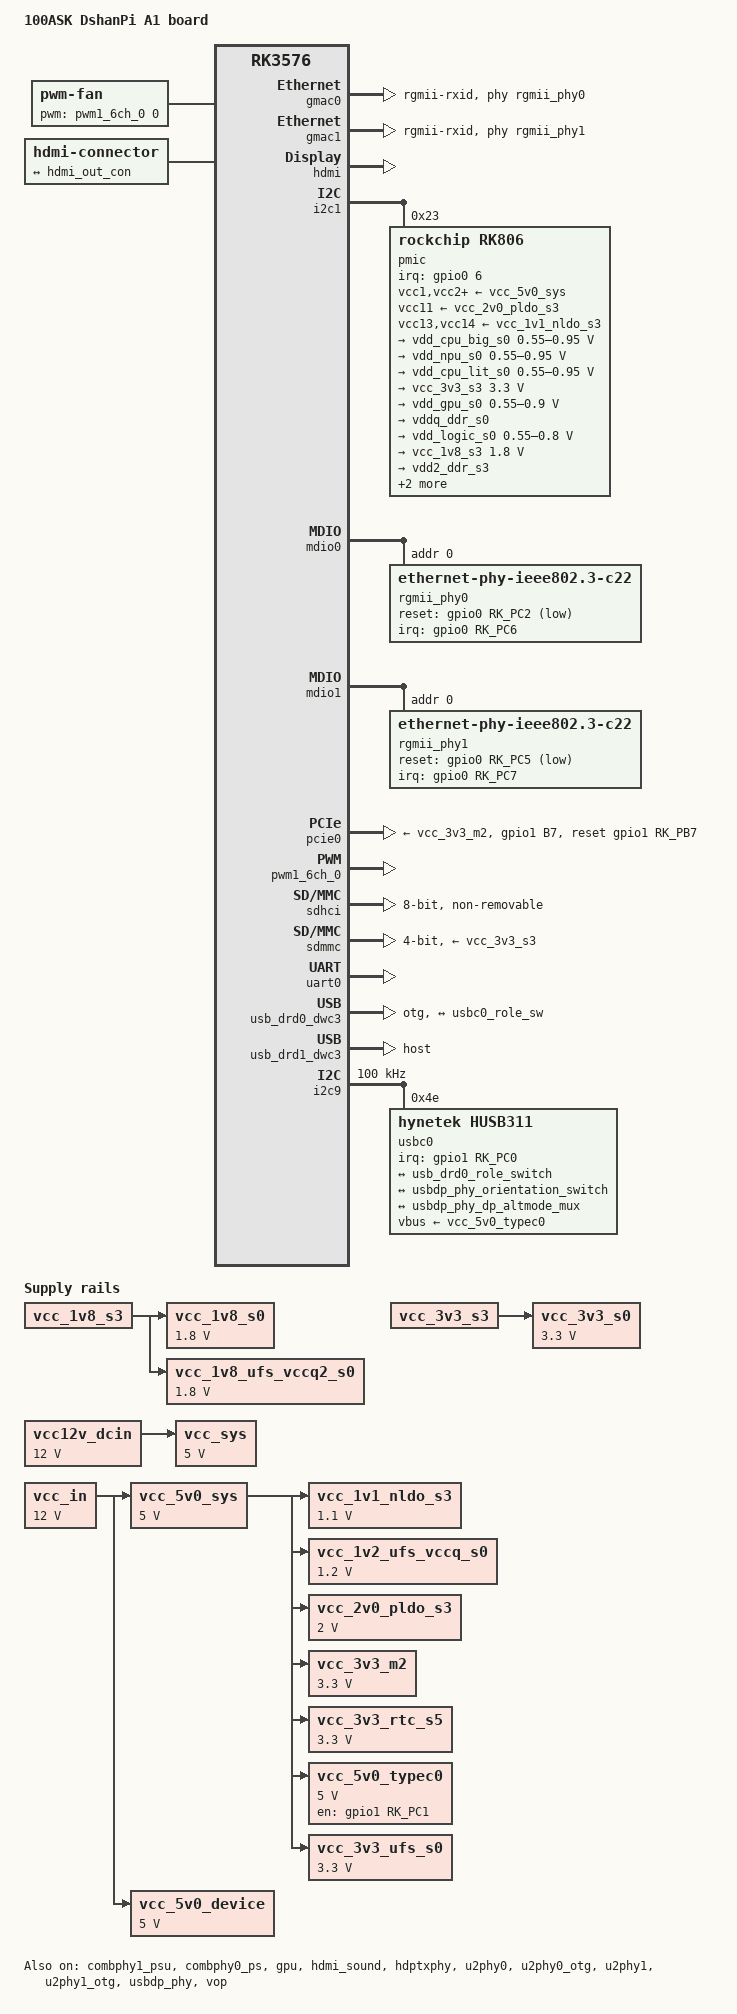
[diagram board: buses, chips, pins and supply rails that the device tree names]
// SPDX-License-Identifier: (GPL-2.0+ OR MIT)
/*
 * Copyright (c) 2024 Rockchip Electronics Co., Ltd.
 *
 */

/dts-v1/;

#include <dt-bindings/gpio/gpio.h>
#include <dt-bindings/leds/common.h>
#include <dt-bindings/pinctrl/rockchip.h>
#include <dt-bindings/pwm/pwm.h>
#include <dt-bindings/soc/rockchip,vop2.h>
#include "rk3576.dtsi"
#include <dt-bindings/usb/pd.h>
// #include "rk3576-rk806.dtsi"

/ {
	model = "100ASK DshanPi A1 board";
	compatible = "100ask,dshanpi-a1", "rockchip,rk3576";

	aliases {
		ethernet0 = &gmac0;
		ethernet1 = &gmac1;
	};

	chosen {
		stdout-path = "serial0:1500000n8";
	};
	
	fan: pwm-fan {
		status = "okay";
		compatible = "pwm-fan";
		#cooling-cells = <2>;
		pwms = <&pwm1_6ch_0 0 50000 1>;
		
		cooling-levels = <0 50 100 150 200 255>;
		
		/* does not work here, use standerd method instead */
		rockchip,temp-trips = <
			40000    1
			50000    2
			60000    3
			65000    4
			70000    5
		>;
	};

	hdmi-con {
		compatible = "hdmi-connector";
		type = "a";

		port {
			hdmi_con_in: endpoint {
				remote-endpoint = <&hdmi_out_con>;
			};
		};
	};

	sdio_pwrseq: sdio-pwrseq {
		compatible = "mmc-pwrseq-simple";
		//pinctrl-names = "default";
		//pinctrl-0 = <&wifi_poweren_gpio>;

		/*
		 * On the module itself this is one of these (depending
		 * on the actual card populated):
		 * - SDIO_RESET_L_WL_REG_ON
		 * - PDN (power down when low)
		 */
		post-power-on-delay-ms = <200>;
		reset-gpios = <&gpio1 RK_PC6 GPIO_ACTIVE_LOW>;
		status = "disabled";
	};

	vcc12v_dcin: vcc12v-dcin {
		compatible = "regulator-fixed";
		regulator-name = "vcc12v_dcin";
		regulator-always-on;
		regulator-boot-on;
		regulator-min-microvolt = <12000000>;
		regulator-max-microvolt = <12000000>;
	};

	vcc_sys: vcc5v0-sys {
		compatible = "regulator-fixed";
		regulator-name = "vcc_sys";
		regulator-always-on;
		regulator-boot-on;
		regulator-min-microvolt = <5000000>;
		regulator-max-microvolt = <5000000>;
		vin-supply = <&vcc12v_dcin>;
	};

	vcc_in: regulator-vcc-12v0-dcin {
		compatible = "regulator-fixed";
		regulator-name = "vcc_in";
		regulator-always-on;
		regulator-boot-on;
		regulator-min-microvolt = <12000000>;
		regulator-max-microvolt = <12000000>;
	};

	vcc_1v1_nldo_s3: regulator-vcc-1v1-nldo-s3 {
		compatible = "regulator-fixed";
		regulator-name = "vcc_1v1_nldo_s3";
		regulator-boot-on;
		regulator-always-on;
		regulator-min-microvolt = <1100000>;
		regulator-max-microvolt = <1100000>;
		vin-supply = <&vcc_5v0_sys>;
	};

	vcc_1v2_ufs_vccq_s0: regulator-vcc-1v2-ufs-vccq-s0 {
		compatible = "regulator-fixed";
		regulator-name = "vcc_1v2_ufs_vccq_s0";
		regulator-boot-on;
		regulator-always-on;
		regulator-min-microvolt = <1200000>;
		regulator-max-microvolt = <1200000>;
		vin-supply = <&vcc_5v0_sys>;
	};

	vcc_1v8_s0: regulator-vcc-1v8-s0 {
		compatible = "regulator-fixed";
		regulator-name = "vcc_1v8_s0";
		regulator-boot-on;
		regulator-always-on;
		regulator-min-microvolt = <1800000>;
		regulator-max-microvolt = <1800000>;
		vin-supply = <&vcc_1v8_s3>;
	};

	vcc_1v8_ufs_vccq2_s0: regulator-vcc-1v8-ufs-vccq2-s0 {
		compatible = "regulator-fixed";
		regulator-name = "vcc_1v8_ufs_vccq2_s0";
		regulator-boot-on;
		regulator-always-on;
		regulator-min-microvolt = <1800000>;
		regulator-max-microvolt = <1800000>;
		vin-supply = <&vcc_1v8_s3>;
	};

	vcc_2v0_pldo_s3: regulator-vcc-2v0-pldo-s3 {
		compatible = "regulator-fixed";
		regulator-name = "vcc_2v0_pldo_s3";
		regulator-boot-on;
		regulator-always-on;
		regulator-min-microvolt = <2000000>;
		regulator-max-microvolt = <2000000>;
		vin-supply = <&vcc_5v0_sys>;
	};

	vcc_3v3_m2: regulator-vcc-3v3-m2 {
		compatible = "regulator-fixed";
		regulator-name = "vcc_3v3_m2";
		regulator-always-on;
		regulator-boot-on;
		regulator-min-microvolt = <3300000>;
		regulator-max-microvolt = <3300000>;
		vin-supply = <&vcc_5v0_sys>;
	};

	vcc_3v3_rtc_s5: regulator-vcc-3v3-rtc-s5 {
		compatible = "regulator-fixed";
		regulator-name = "vcc_3v3_rtc_s5";
		regulator-boot-on;
		regulator-always-on;
		regulator-min-microvolt = <3300000>;
		regulator-max-microvolt = <3300000>;
		vin-supply = <&vcc_5v0_sys>;
	};

	vcc_3v3_s0: regulator-vcc-3v3-s0 {
		compatible = "regulator-fixed";
		regulator-name = "vcc_3v3_s0";
		regulator-boot-on;
		regulator-always-on;
		regulator-min-microvolt = <3300000>;
		regulator-max-microvolt = <3300000>;
		vin-supply = <&vcc_3v3_s3>;
	};

	vcc_5v0_sys: regulator-vcc-5v0-sys {
		compatible = "regulator-fixed";
		regulator-name = "vcc_5v0_sys";
		regulator-always-on;
		regulator-boot-on;
		regulator-min-microvolt = <5000000>;
		regulator-max-microvolt = <5000000>;
		vin-supply = <&vcc_in>;
	};

	vcc_5v0_device: regulator-vcc-5v0-device {
		compatible = "regulator-fixed";
		regulator-name = "vcc_5v0_device";
		regulator-always-on;
		regulator-boot-on;
		regulator-min-microvolt = <5000000>;
		regulator-max-microvolt = <5000000>;
		vin-supply = <&vcc_in>;
	};

	vcc_5v0_typec0: regulator-vcc-5v0-typec0 {
		compatible = "regulator-fixed";
		enable-active-high;
		gpios = <&gpio1 RK_PC1 GPIO_ACTIVE_HIGH>;
		pinctrl-names = "default";
		pinctrl-0 = <&vcc5v_pwren_h>;
		regulator-name = "vcc_5v0_typec0";
		regulator-min-microvolt = <5000000>;
		regulator-max-microvolt = <5000000>;
		vin-supply = <&vcc_5v0_sys>;
	};

	vcc_3v3_ufs_s0: regulator-vcc-ufs-s0 {
		compatible = "regulator-fixed";
		regulator-name = "vcc_3v3_ufs_s0";
		regulator-boot-on;
		regulator-always-on;
		regulator-min-microvolt = <3300000>;
		regulator-max-microvolt = <3300000>;
		vin-supply = <&vcc_5v0_sys>;
	};
};

&package_thermal {
	trips {
		package_passive: package-passive {
			temperature = <35000>;
			hysteresis = <3000>;
			type = "passive";
		};

		package_active0: package-active0 {
			temperature = <45000>;
			hysteresis = <3000>;
			type = "active";
		};

		package_active1: package-active1 {
			temperature = <60000>;
			hysteresis = <3000>;
			type = "active";
		};
	};

	cooling-maps {
		map0 {
			trip = <&package_passive>;
			cooling-device = <&fan 0 1>; // trip=35°C, level [0,1]
		};

		map1 {
			trip = <&package_active0>;
			cooling-device = <&fan 1 3>; // trip=45℃, level [1,3]
		};

		map2 {
			trip = <&package_active1>;
			cooling-device = <&fan 3 5>; // trip=60℃, level [3,5]
		};

		map3 {
			trip = <&package_crit>;
			cooling-device = <&fan 5 5>; // trip=115℃, level=5
		};
	};
};

&combphy1_psu {
	status = "okay";
};

&combphy0_ps {
	status = "okay";
};

&cpu_b0 {
	cpu-supply = <&vdd_cpu_big_s0>;
};

&cpu_b1 {
	cpu-supply = <&vdd_cpu_big_s0>;
};

&cpu_b2 {
	cpu-supply = <&vdd_cpu_big_s0>;
};

&cpu_b3 {
	cpu-supply = <&vdd_cpu_big_s0>;
};

&cpu_l0 {
	cpu-supply = <&vdd_cpu_lit_s0>;
};

&cpu_l1 {
	cpu-supply = <&vdd_cpu_lit_s0>;
};

&cpu_l2 {
	cpu-supply = <&vdd_cpu_lit_s0>;
};

&cpu_l3 {
	cpu-supply = <&vdd_cpu_lit_s0>;
};
&gmac0 {
	/* Use rgmii-rxid mode to disable rx delay inside Soc */
	phy-mode = "rgmii-rxid";
	clock_in_out = "output";

    // snps,reset-gpio = <&gpio0 RK_PC2 GPIO_ACTIVE_LOW>;
    // snps,reset-active-low;
    // /* Reset time is 20ms, 100ms for rtl8211f */
    // snps,reset-delays-us = <0 20000 100000>;

    pinctrl-names = "default";
    pinctrl-0 = <&eth0m0_miim
                 &eth0m0_tx_bus2
                 &eth0m0_rx_bus2
                 &eth0m0_rgmii_clk
                 &eth0m0_rgmii_bus>;

	tx_delay = <0x1b>;
	/* rx_delay = <0x3f>; */

	phy-handle = <&rgmii_phy0>;
	status = "okay";
};

&gmac1 {
    /* Use rgmii-rxid mode to disable rx delay inside Soc */
    phy-mode = "rgmii-rxid";
    clock_in_out = "output";

    // snps,reset-gpio = <&gpio0 RK_PC5 GPIO_ACTIVE_LOW>;
    // snps,reset-active-low;
    // /* Reset time is 20ms, 100ms for rtl8211f */
    // snps,reset-delays-us = <0 20000 100000>;

    pinctrl-names = "default";
    pinctrl-0 = <&eth1m0_miim
                 &eth1m0_tx_bus2
                 &eth1m0_rx_bus2
                 &eth1m0_rgmii_clk
                 &eth1m0_rgmii_bus>;

    tx_delay = <0x1a>;
    /* rx_delay = <0x3f>; */

    phy-handle = <&rgmii_phy1>;
    status = "okay";
};

&gpu {
	mali-supply = <&vdd_gpu_s0>;
	status = "okay";
};

&hdmi {
	status = "okay";
	enable-gpios = <&gpio2 RK_PB0 GPIO_ACTIVE_HIGH>;
	rockchip,sda-falling-delay-ns = <360>;
};

&hdmi_in {
	hdmi_in_vp0: endpoint {
		remote-endpoint = <&vp0_out_hdmi>;
	};
};

&hdmi_out {
	hdmi_out_con: endpoint {
		remote-endpoint = <&hdmi_con_in>;
	};
};

&hdmi_sound {
	status = "okay";
};

&hdptxphy {
	status = "okay";
};

&i2c1 {
	status = "okay";

	pmic@23 {
		compatible = "rockchip,rk806";
		reg = <0x23>;

		interrupt-parent = <&gpio0>;
		interrupts = <6 IRQ_TYPE_LEVEL_LOW>;

		pinctrl-names = "default";
		pinctrl-0 = <&pmic_pins>, <&rk806_dvs1_null>,
			    <&rk806_dvs2_null>, <&rk806_dvs3_null>;

		system-power-controller;

		vcc1-supply = <&vcc_5v0_sys>;
		vcc2-supply = <&vcc_5v0_sys>;
		vcc3-supply = <&vcc_5v0_sys>;
		vcc4-supply = <&vcc_5v0_sys>;
		vcc5-supply = <&vcc_5v0_sys>;
		vcc6-supply = <&vcc_5v0_sys>;
		vcc7-supply = <&vcc_5v0_sys>;
		vcc8-supply = <&vcc_5v0_sys>;
		vcc9-supply = <&vcc_5v0_sys>;
		vcc10-supply = <&vcc_5v0_sys>;
		vcc11-supply = <&vcc_2v0_pldo_s3>;
		vcc12-supply = <&vcc_5v0_sys>;
		vcc13-supply = <&vcc_1v1_nldo_s3>;
		vcc14-supply = <&vcc_1v1_nldo_s3>;
		vcca-supply = <&vcc_5v0_sys>;

		gpio-controller;
		#gpio-cells = <2>;

		rk806_dvs1_null: dvs1-null-pins {
			pins = "gpio_pwrctrl1";
			function = "pin_fun0";
		};

		rk806_dvs2_null: dvs2-null-pins {
			pins = "gpio_pwrctrl2";
			function = "pin_fun0";
		};

		rk806_dvs3_null: dvs3-null-pins {
			pins = "gpio_pwrctrl3";
			function = "pin_fun0";
		};

		rk806_dvs1_slp: dvs1-slp-pins {
			pins = "gpio_pwrctrl1";
			function = "pin_fun1";
		};

		rk806_dvs1_pwrdn: dvs1-pwrdn-pins {
			pins = "gpio_pwrctrl1";
			function = "pin_fun2";
		};

		rk806_dvs1_rst: dvs1-rst-pins {
			pins = "gpio_pwrctrl1";
			function = "pin_fun3";
		};

		rk806_dvs2_slp: dvs2-slp-pins {
			pins = "gpio_pwrctrl2";
			function = "pin_fun1";
		};

		rk806_dvs2_pwrdn: dvs2-pwrdn-pins {
			pins = "gpio_pwrctrl2";
			function = "pin_fun2";
		};

		rk806_dvs2_rst: dvs2-rst-pins {
			pins = "gpio_pwrctrl2";
			function = "pin_fun3";
		};

		rk806_dvs2_dvs: dvs2-dvs-pins {
			pins = "gpio_pwrctrl2";
			function = "pin_fun4";
		};

		rk806_dvs2_gpio: dvs2-gpio-pins {
			pins = "gpio_pwrctrl2";
			function = "pin_fun5";
		};

		rk806_dvs3_slp: dvs3-slp-pins {
			pins = "gpio_pwrctrl3";
			function = "pin_fun1";
		};

		rk806_dvs3_pwrdn: dvs3-pwrdn-pins {
			pins = "gpio_pwrctrl3";
			function = "pin_fun2";
		};

		rk806_dvs3_rst: dvs3-rst-pins {
			pins = "gpio_pwrctrl3";
			function = "pin_fun3";
		};

		rk806_dvs3_dvs: dvs3-dvs-pins {
			pins = "gpio_pwrctrl3";
			function = "pin_fun4";
		};

		rk806_dvs3_gpio: dvs3-gpio-pins {
			pins = "gpio_pwrctrl3";
			function = "pin_fun5";
		};

		regulators {
			vdd_cpu_big_s0: dcdc-reg1 {
				regulator-always-on;
				regulator-boot-on;
				regulator-min-microvolt = <550000>;
				regulator-max-microvolt = <950000>;
				regulator-ramp-delay = <12500>;
				regulator-name = "vdd_cpu_big_s0";
				regulator-enable-ramp-delay = <400>;
				regulator-state-mem {
					regulator-off-in-suspend;
				};
			};

			vdd_npu_s0: dcdc-reg2 {
				regulator-boot-on;
				regulator-min-microvolt = <550000>;
				regulator-max-microvolt = <950000>;
				regulator-ramp-delay = <12500>;
				regulator-name = "vdd_npu_s0";
				regulator-enable-ramp-delay = <400>;
				regulator-state-mem {
					regulator-off-in-suspend;
				};
			};

			vdd_cpu_lit_s0: dcdc-reg3 {
				regulator-always-on;
				regulator-boot-on;
				regulator-min-microvolt = <550000>;
				regulator-max-microvolt = <950000>;
				regulator-ramp-delay = <12500>;
				regulator-name = "vdd_cpu_lit_s0";
				regulator-state-mem {
					regulator-off-in-suspend;
					regulator-suspend-microvolt = <750000>;
				};
			};

			vcc_3v3_s3: dcdc-reg4 {
				regulator-always-on;
				regulator-boot-on;
				regulator-min-microvolt = <3300000>;
				regulator-max-microvolt = <3300000>;
				regulator-name = "vcc_3v3_s3";
				regulator-state-mem {
					regulator-on-in-suspend;
					regulator-suspend-microvolt = <3300000>;
				};
			};

			vdd_gpu_s0: dcdc-reg5 {
				regulator-boot-on;
				regulator-min-microvolt = <550000>;
				regulator-max-microvolt = <900000>;
				regulator-ramp-delay = <12500>;
				regulator-name = "vdd_gpu_s0";
				regulator-enable-ramp-delay = <400>;
				regulator-state-mem {
					regulator-off-in-suspend;
					regulator-suspend-microvolt = <850000>;
				};
			};

			vddq_ddr_s0: dcdc-reg6 {
				regulator-always-on;
				regulator-boot-on;
				regulator-name = "vddq_ddr_s0";
				regulator-state-mem {
					regulator-off-in-suspend;
				};
			};

			vdd_logic_s0: dcdc-reg7 {
				regulator-always-on;
				regulator-boot-on;
				regulator-min-microvolt = <550000>;
				regulator-max-microvolt = <800000>;
				regulator-name = "vdd_logic_s0";
				regulator-state-mem {
					regulator-off-in-suspend;
				};
			};

			vcc_1v8_s3: dcdc-reg8 {
				regulator-always-on;
				regulator-boot-on;
				regulator-min-microvolt = <1800000>;
				regulator-max-microvolt = <1800000>;
				regulator-name = "vcc_1v8_s3";
				regulator-state-mem {
					regulator-on-in-suspend;
					regulator-suspend-microvolt = <1800000>;
				};
			};

			vdd2_ddr_s3: dcdc-reg9 {
				regulator-always-on;
				regulator-boot-on;
				regulator-name = "vdd2_ddr_s3";
				regulator-state-mem {
					regulator-on-in-suspend;
				};
			};

			vdd_ddr_s0: dcdc-reg10 {
				regulator-always-on;
				regulator-boot-on;
				regulator-min-microvolt = <550000>;
				regulator-max-microvolt = <1200000>;
				regulator-name = "vdd_ddr_s0";
				regulator-state-mem {
					regulator-off-in-suspend;
				};
			};

			vcca_1v8_s0: pldo-reg1 {
				regulator-always-on;
				regulator-boot-on;
				regulator-min-microvolt = <1800000>;
				regulator-max-microvolt = <1800000>;
				regulator-name = "vcca_1v8_s0";
				regulator-state-mem {
					regulator-off-in-suspend;
				};
			};

			vcca1v8_pldo2_s0: pldo-reg2 {
				regulator-always-on;
				regulator-boot-on;
				regulator-min-microvolt = <1800000>;
				regulator-max-microvolt = <1800000>;
				regulator-name = "vcca1v8_pldo2_s0";
				regulator-state-mem {
					regulator-off-in-suspend;
				};
			};

			vdda_1v2_s0: pldo-reg3 {
				regulator-always-on;
				regulator-boot-on;
				regulator-min-microvolt = <1200000>;
				regulator-max-microvolt = <1200000>;
				regulator-name = "vdda_1v2_s0";
				regulator-state-mem {
					regulator-off-in-suspend;
				};
			};

			vcca_3v3_s0: pldo-reg4 {
				regulator-always-on;
				regulator-boot-on;
				regulator-min-microvolt = <3300000>;
				regulator-max-microvolt = <3300000>;
				regulator-name = "vcca_3v3_s0";
				regulator-state-mem {
					regulator-off-in-suspend;
				};
			};

			vccio_sd_s0: pldo-reg5 {
				regulator-always-on;
				regulator-boot-on;
				regulator-min-microvolt = <1800000>;
				regulator-max-microvolt = <3300000>;
				regulator-name = "vccio_sd_s0";
				regulator-state-mem {
					regulator-off-in-suspend;
				};
			};

			vcca1v8_pldo6_s3: pldo-reg6 {
				regulator-always-on;
				regulator-boot-on;
				regulator-min-microvolt = <1800000>;
				regulator-max-microvolt = <1800000>;
				regulator-name = "vcca1v8_pldo6_s3";
				regulator-state-mem {
					regulator-on-in-suspend;
					regulator-suspend-microvolt = <1800000>;
				};
			};

			vdd_0v75_s3: nldo-reg1 {
				regulator-always-on;
				regulator-boot-on;
				regulator-min-microvolt = <750000>;
				regulator-max-microvolt = <750000>;
				regulator-name = "vdd_0v75_s3";
				regulator-state-mem {
					regulator-on-in-suspend;
					regulator-suspend-microvolt = <750000>;
				};
			};

			vdda_ddr_pll_s0: nldo-reg2 {
				regulator-always-on;
				regulator-boot-on;
				regulator-min-microvolt = <850000>;
				regulator-max-microvolt = <850000>;
				regulator-name = "vdda_ddr_pll_s0";
				regulator-state-mem {
					regulator-off-in-suspend;
				};
			};

			vdda0v75_hdmi_s0: nldo-reg3 {
				regulator-always-on;
				regulator-boot-on;
				regulator-min-microvolt = <837500>;
				regulator-max-microvolt = <837500>;
				regulator-name = "vdda0v75_hdmi_s0";
				regulator-state-mem {
					regulator-off-in-suspend;
				};
			};

			vdda_0v85_s0: nldo-reg4 {
				regulator-always-on;
				regulator-boot-on;
				regulator-min-microvolt = <850000>;
				regulator-max-microvolt = <850000>;
				regulator-name = "vdda_0v85_s0";
				regulator-state-mem {
					regulator-off-in-suspend;
				};
			};

			vdda_0v75_s0: nldo-reg5 {
				regulator-always-on;
				regulator-boot-on;
				regulator-min-microvolt = <750000>;
				regulator-max-microvolt = <750000>;
				regulator-name = "vdda_0v75_s0";
				regulator-state-mem {
					regulator-off-in-suspend;
				};
			};
		};
	};
};

&mdio0 {
        rgmii_phy0: phy@1 {
                compatible = "ethernet-phy-ieee802.3-c22";
                reg = <0x0>;
                clocks = <&cru REFCLKO25M_GMAC0_OUT>;
                interrupt-parent = <&gpio0>;
                interrupts = <RK_PC6 IRQ_TYPE_LEVEL_LOW>;
                pinctrl-names = "default";
                pinctrl-0 = <&gmac0_int>, <&gmac0_rst>;
                reset-assert-us = <20000>;
                reset-deassert-us = <100000>;
                reset-gpios = <&gpio0 RK_PC2 GPIO_ACTIVE_LOW>;
        };
};
&mdio1 {
        rgmii_phy1: phy@1 {
                compatible = "ethernet-phy-ieee802.3-c22";
                reg = <0x0>;
                clocks = <&cru REFCLKO25M_GMAC1_OUT>;
                interrupt-parent = <&gpio0>;
                interrupts = <RK_PC7 IRQ_TYPE_LEVEL_LOW>;
                pinctrl-names = "default";
                pinctrl-0 = <&gmac1_int>, <&gmac1_rst>;
                reset-assert-us = <20000>;
                reset-deassert-us = <100000>;
                reset-gpios = <&gpio0 RK_PC5 GPIO_ACTIVE_LOW>;
        };
};

&pcie0 {
	pinctrl-names = "default";
	pinctrl-0 = <&pcie_reset>;
	reset-gpios = <&gpio1 RK_PB7 GPIO_ACTIVE_HIGH>;
	vpcie3v3-supply = <&vcc_3v3_m2>;
	status = "okay";
};

&pinctrl {
	gmac {
                gmac0_int: gmac0-int {
                        rockchip,pins = <0 RK_PC6 RK_FUNC_GPIO &pcfg_pull_up>;
                };
                gmac0_rst: gmac0-rst {
                        rockchip,pins = <0 RK_PC2 RK_FUNC_GPIO &pcfg_pull_none>;
                };
                gmac1_int: gmac1-int {
                        rockchip,pins = <0 RK_PC7 RK_FUNC_GPIO &pcfg_pull_up>;
                };
                gmac1_rst: gmac1-rst {
                        rockchip,pins = <0 RK_PC5 RK_FUNC_GPIO &pcfg_pull_none>;
                };
        };

	headphone {
		hp_det: hp-det {
			rockchip,pins = <0 RK_PD3 RK_FUNC_GPIO &pcfg_pull_up>;
		};
	};


	pcie {
		pcie_reset: pcie-reset {
			rockchip,pins = <1 RK_PB7 RK_FUNC_GPIO &pcfg_pull_none>;
		};
	};

	usb {
		vcc5v_pwren_h: vcc5v-pwren-h {
			rockchip,pins = <1 RK_PC1 RK_FUNC_GPIO &pcfg_pull_none>;
		};

		usbc0_int: usbc0-int {
			rockchip,pins = <1 RK_PC0 RK_FUNC_GPIO &pcfg_pull_up>;
		};
	};
	
	/delete-node/ dsmc;
	/delete-node/ dsmc_testclk;
	/delete-node/ dsmc_testdata;
	
	dsmc { };
	dsmc_testclk { };
	dsmc_testdata { };

};

&pwm1_6ch_0 {
	status = "okay";
	pinctrl-0 = <&pwm1m0_ch0>;
};


&sdhci {
	bus-width = <8>;
	no-sdio;
	no-sd;
	full-pwr-cycle-in-suspend;
	max-frequency = <200000000>;
	mmc-hs200-1_8v; //work perfect on HS200 mode
	// mmc-hs400-1_8v;
	// mmc-hs400-enhanced-strobe;
	/delete-property/ supports-cqe;
	non-removable;
	status = "okay";
};

&sdmmc {
	max-frequency = <200000000>;
	pinctrl-0 = <&sdmmc0_clk &sdmmc0_cmd &sdmmc0_det &sdmmc0_bus4>;
	pinctrl-names = "default";
	no-sdio;
	no-mmc;
	bus-width = <4>;
	cap-mmc-highspeed;
	cap-sd-highspeed;
	disable-wp;
	sd-uhs-sdr104;
	vmmc-supply = <&vcc_3v3_s3>;
	vqmmc-supply = <&vccio_sd_s0>;
	status = "okay";
};

&sdio {
	no-sd;
	no-mmc;
	bus-width = <4>;
	max-frequency = <200000000>;
	disable-wp;
	cap-sd-highspeed;
	cap-sdio-irq;
	keep-power-in-suspend;
	mmc-pwrseq = <&sdio_pwrseq>;
	non-removable;
	pinctrl-names = "default";
	pinctrl-0 = <&sdmmc1m0_bus4 &sdmmc1m0_clk &sdmmc1m0_cmd>;
	sd-uhs-sdr104;
	status = "disabled";
};

&u2phy0 {
	status = "okay";
};

&u2phy0_otg {
	phy-supply = <&vcc_5v0_typec0>;
	rockchip,typec-vbus-det;
	status = "okay";
};

&u2phy1 {
	status = "okay";
};

&u2phy1_otg {
	phy-supply = <&vcc_5v0_sys>;
	status = "okay";
};

&usbdp_phy {
	status = "okay";
	usbdp_phy_dp: dp-port {
		#phy-cells = <0>;
		status = "disabled";
	};

	usbdp_phy_u3: u3-port {
		#phy-cells = <0>;
		status = "disabled";
	};
};

&usbdp_phy_dp {
	status = "okay";
};

&usbdp_phy_u3 {
	status = "okay";
};

&uart0 {
	pinctrl-0 = <&uart0m0_xfer>;
	status = "okay";
};

&vop {
	status = "okay";
};

&vop_mmu {
	status = "okay";
};

&vp0 {
	vp0_out_hdmi: endpoint@ROCKCHIP_VOP2_EP_HDMI0 {
		reg = <ROCKCHIP_VOP2_EP_HDMI0>;
		remote-endpoint = <&hdmi_in_vp0>;
	};
};

&usbdp_phy {
	orientation-switch;
	svid = <0xff01>;
	sbu1-dc-gpios = <&gpio4 RK_PC4 GPIO_ACTIVE_HIGH>;
	sbu2-dc-gpios = <&gpio4 RK_PC5 GPIO_ACTIVE_HIGH>;

	port {
		#address-cells = <1>;
		#size-cells = <0>;

		usbdp_phy_orientation_switch: endpoint@0 {
			reg = <0>;
			remote-endpoint = <&usbc0_orien_sw>;
		};

		usbdp_phy_dp_altmode_mux: endpoint@1 {
			reg = <1>;
			remote-endpoint = <&dp_altmode_mux>;
		};
	};
};

// usb0 as type-c port, can be host or peripheral.
&usb_drd0_dwc3 {
	dr_mode = "otg";
	usb-role-switch;
	port {
		usb_drd0_role_switch: endpoint {
			remote-endpoint = <&usbc0_role_sw>;
		};
	};
};

// usb1 as type-a port, fixed to host
&usb_drd1_dwc3 {
	status = "okay";
	dr_mode = "host";
	// usb-role-switch;
	// role-switch-default-mode ="host";
};

&i2c9 {
	clock-frequency = <100000>;
	status = "okay";
	pinctrl-names = "default";
	pinctrl-0 = <&i2c9m1_xfer>;

	usbc0: husb311@4e {
		compatible = "hynetek,husb311";
		reg = <0x4e>;
		interrupt-parent = <&gpio1>;
		interrupts = <RK_PC0 IRQ_TYPE_LEVEL_LOW>;
		pinctrl-names = "default";
		pinctrl-0 = <&usbc0_int>;
		vbus-supply = <&vcc_5v0_typec0>;
		status = "okay";

		port {
			usbc0_role_sw: endpoint {
				remote-endpoint = <&usb_drd0_role_switch>;
			};
		};

		usb_con: connector {
			compatible = "usb-c-connector";
			label = "USB-C";
			data-role = "dual";
			power-role = "dual";
			try-power-role = "sink";
			op-sink-microwatt = <1000000>;
			sink-pdos =
				<PDO_FIXED(5000, 1000, PDO_FIXED_USB_COMM)>;
			source-pdos =
				<PDO_FIXED(5000, 3000, PDO_FIXED_USB_COMM)>;
			// mode-switch = <&dp>;

			// altmodes {
			// 	#address-cells = <1>;
			// 	#size-cells = <0>;

			// 	altmode@0 {
			// 		reg = <0>;
			// 		svid = <0xff01>;
			// 		vdo = <0xffffffff>;
			// 	};
			// };

			ports {
				#address-cells = <1>;
				#size-cells = <0>;

				port@0 {
					reg = <0>;
					usbc0_orien_sw: endpoint {
						remote-endpoint = <&usbdp_phy_orientation_switch>;
					};
				};

				port@1 {
					reg = <1>;
					dp_altmode_mux: endpoint {
						remote-endpoint = <&usbdp_phy_dp_altmode_mux>;
					};
				};
			};
		};
	};
};
